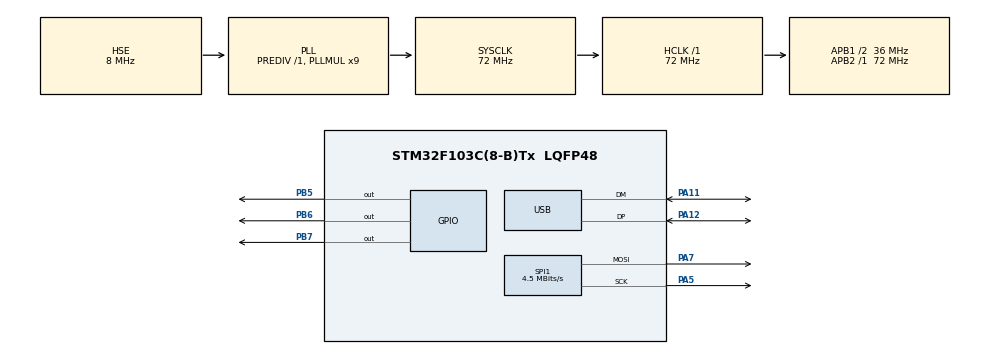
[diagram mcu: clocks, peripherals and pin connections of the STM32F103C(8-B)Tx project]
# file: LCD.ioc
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Mcu.Family=STM32F1
Mcu.Name=STM32F103C(8-B)Tx
Mcu.Package=LQFP48
NVIC.PriorityGroup=NVIC_PRIORITYGROUP_4
NVIC.USB_LP_CAN1_RX0_IRQn=true\:0\:0\:false\:false\:true\:false
PA11.Mode=Device
PA11.Signal=USB_DM
PA12.Mode=Device
PA12.Signal=USB_DP
PA13.Mode=Serial_Wire
PA13.Signal=SYS_JTMS-SWDIO
PA14.Mode=Serial_Wire
PA14.Signal=SYS_JTCK-SWCLK
PA5.Mode=TX_Only_Simplex_Unidirect_Master
PA5.Signal=SPI1_SCK
PA7.Mode=TX_Only_Simplex_Unidirect_Master
PA7.Signal=SPI1_MOSI
PB5.Signal=GPIO_Output
PB6.Signal=GPIO_Output
PB7.Signal=GPIO_Output
PC14-OSC32_IN.Mode=LSE-External-Oscillator
PC14-OSC32_IN.Signal=RCC_OSC32_IN
PC15-OSC32_OUT.Mode=LSE-External-Oscillator
PC15-OSC32_OUT.Signal=RCC_OSC32_OUT
PD0-OSC_IN.Mode=HSE-External-Oscillator
PD0-OSC_IN.Signal=RCC_OSC_IN
PD1-OSC_OUT.Mode=HSE-External-Oscillator
PD1-OSC_OUT.Signal=RCC_OSC_OUT
ProjectManager.HeapSize=0x200
ProjectManager.StackSize=0x400
ProjectManager.TargetToolchain=Makefile
RCC.AHBFreq_Value=72000000
RCC.APB1CLKDivider=RCC_HCLK_DIV2
RCC.APB1Freq_Value=36000000
RCC.APB1TimFreq_Value=72000000
RCC.APB2Freq_Value=72000000
RCC.APB2TimFreq_Value=72000000
RCC.HCLKFreq_Value=72000000
RCC.PLLMUL=RCC_PLL_MUL9
RCC.SYSCLKFreq_VALUE=72000000
RCC.SYSCLKSource=RCC_SYSCLKSOURCE_PLLCLK
RCC.USBFreq_Value=48000000
RCC.USBPrescaler=RCC_USBCLKSOURCE_PLL_DIV1_5
SPI1.BaudRatePrescaler=SPI_BAUDRATEPRESCALER_16
SPI1.CLKPhase=SPI_PHASE_2EDGE
SPI1.CalculateBaudRate=4.5 MBits/s
SPI1.Direction=SPI_DIRECTION_2LINES
SPI1.Mode=SPI_MODE_MASTER
SPI1.VirtualType=VM_MASTER
USB_DEVICE.CLASS_NAME_FS=CDC
USB_DEVICE.VirtualMode=Cdc
USB_DEVICE.VirtualModeFS=Cdc_FS
VP_USB_DEVICE_VS_USB_DEVICE_CDC_FS.Mode=CDC_FS
board=custom

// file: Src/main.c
/* USER CODE BEGIN Header */
/**
  ******************************************************************************
  * @file           : main.c
  * @brief          : Main program body
  ******************************************************************************
  ** This notice applies to any and all portions of this file
  * that are not between comment pairs USER CODE BEGIN and
  * USER CODE END. Other portions of this file, whether
  * inserted by the user or by software development tools
  * are owned by their respective copyright owners.
  *
  * COPYRIGHT(c) 2019 STMicroelectronics
  *
  * Redistribution and use in source and binary forms, with or without modification,
  * are permitted provided that the following conditions are met:
  *   1. Redistributions of source code must retain the above copyright notice,
  *      this list of conditions and the following disclaimer.
  *   2. Redistributions in binary form must reproduce the above copyright notice,
  *      this list of conditions and the following disclaimer in the documentation
  *      and/or other materials provided with the distribution.
  *   3. Neither the name of STMicroelectronics nor the names of its contributors
  *      may be used to endorse or promote products derived from this software
  *      without specific prior written permission.
  *
  * THIS SOFTWARE IS PROVIDED BY THE COPYRIGHT HOLDERS AND CONTRIBUTORS "AS IS"
  * AND ANY EXPRESS OR IMPLIED WARRANTIES, INCLUDING, BUT NOT LIMITED TO, THE
  * IMPLIED WARRANTIES OF MERCHANTABILITY AND FITNESS FOR A PARTICULAR PURPOSE ARE
  * DISCLAIMED. IN NO EVENT SHALL THE COPYRIGHT HOLDER OR CONTRIBUTORS BE LIABLE
  * FOR ANY DIRECT, INDIRECT, INCIDENTAL, SPECIAL, EXEMPLARY, OR CONSEQUENTIAL
  * DAMAGES (INCLUDING, BUT NOT LIMITED TO, PROCUREMENT OF SUBSTITUTE GOODS OR
  * SERVICES; LOSS OF USE, DATA, OR PROFITS; OR BUSINESS INTERRUPTION) HOWEVER
  * CAUSED AND ON ANY THEORY OF LIABILITY, WHETHER IN CONTRACT, STRICT LIABILITY,
  * OR TORT (INCLUDING NEGLIGENCE OR OTHERWISE) ARISING IN ANY WAY OUT OF THE USE
  * OF THIS SOFTWARE, EVEN IF ADVISED OF THE POSSIBILITY OF SUCH DAMAGE.
  *
  ******************************************************************************
  */
/* USER CODE END Header */

#include "main.h"
#include "usb_device.h"

/* USER CODE BEGIN Includes */
#include "lcd.h"
/* USER CODE END Includes */

/* USER CODE BEGIN PD */
#define LCD_RS GPIO_PIN_5
#define LCD_RESET GPIO_PIN_6
/* USER CODE END PD */

SPI_HandleTypeDef hspi1;

/* USER CODE BEGIN PV */
uint8_t run=0;
uint8_t aj=0;

int clean = 0;
uint8_t lcd_buf[64];
uint8_t trans_buf[64];
uint8_t ok_buf=0;
uint8_t lcd_w = 132;
uint8_t lcd_h = 176;
int pos=0;
/* USER CODE END PV */

void SystemClock_Config(void);
static void MX_GPIO_Init(void);
static void MX_SPI1_Init(void);

int main(void)
{

  /* MCU Configuration--------------------------------------------------------*/

  /* Reset of all peripherals, Initializes the Flash interface and the Systick. */
  HAL_Init();

  /* Configure the system clock */
  SystemClock_Config();

  /* Initialize all configured peripherals */
  MX_GPIO_Init();
  MX_SPI1_Init();
  MX_USB_DEVICE_Init();
  /* USER CODE BEGIN 2 */
  HAL_GPIO_WritePin(GPIOB, LCD_RS,GPIO_PIN_SET);
  HAL_GPIO_WritePin(GPIOB, LCD_RESET,GPIO_PIN_SET);
  init_LCD(&hspi1);
  set_draw_area(0,0,132,176,&hspi1);
  draw_start(&hspi1);

  /* USER CODE END 2 */

  /* Infinite loop */
  while (1)
  {

    /* USER CODE BEGIN 3 */

    if(ok_buf==1){
    __disable_irq();
    memcpy(trans_buf,lcd_buf,64);
    __enable_irq();

    HAL_SPI_Transmit(&hspi1,trans_buf,sizeof(trans_buf),100);
    ok_buf=0;
    }

  }
  /* USER CODE END 3 */
}

void SystemClock_Config(void)
{
  RCC_OscInitTypeDef RCC_OscInitStruct = {0};
  RCC_ClkInitTypeDef RCC_ClkInitStruct = {0};
  RCC_PeriphCLKInitTypeDef PeriphClkInit = {0};

  /**Initializes the CPU, AHB and APB busses clocks
  */
  RCC_OscInitStruct.OscillatorType = RCC_OSCILLATORTYPE_HSE;
  RCC_OscInitStruct.HSEState = RCC_HSE_ON;
  RCC_OscInitStruct.HSEPredivValue = RCC_HSE_PREDIV_DIV1;
  RCC_OscInitStruct.HSIState = RCC_HSI_ON;
  RCC_OscInitStruct.PLL.PLLState = RCC_PLL_ON;
  RCC_OscInitStruct.PLL.PLLSource = RCC_PLLSOURCE_HSE;
  RCC_OscInitStruct.PLL.PLLMUL = RCC_PLL_MUL9;
  if (HAL_RCC_OscConfig(&RCC_OscInitStruct) != HAL_OK)
  {
    Error_Handler();
  }
  /**Initializes the CPU, AHB and APB busses clocks
  */
  RCC_ClkInitStruct.ClockType = RCC_CLOCKTYPE_HCLK|RCC_CLOCKTYPE_SYSCLK
                              |RCC_CLOCKTYPE_PCLK1|RCC_CLOCKTYPE_PCLK2;
  RCC_ClkInitStruct.SYSCLKSource = RCC_SYSCLKSOURCE_PLLCLK;
  RCC_ClkInitStruct.AHBCLKDivider = RCC_SYSCLK_DIV1;
  RCC_ClkInitStruct.APB1CLKDivider = RCC_HCLK_DIV2;
  RCC_ClkInitStruct.APB2CLKDivider = RCC_HCLK_DIV1;

  if (HAL_RCC_ClockConfig(&RCC_ClkInitStruct, FLASH_LATENCY_2) != HAL_OK)
  {
    Error_Handler();
  }
  PeriphClkInit.PeriphClockSelection = RCC_PERIPHCLK_USB;
  PeriphClkInit.UsbClockSelection = RCC_USBCLKSOURCE_PLL_DIV1_5;
  if (HAL_RCCEx_PeriphCLKConfig(&PeriphClkInit) != HAL_OK)
  {
    Error_Handler();
  }
}

static void MX_SPI1_Init(void)
{

  /* SPI1 parameter configuration*/
  hspi1.Instance = SPI1;
  hspi1.Init.Mode = SPI_MODE_MASTER;
  hspi1.Init.Direction = SPI_DIRECTION_2LINES;
  hspi1.Init.DataSize = SPI_DATASIZE_8BIT;
  hspi1.Init.CLKPolarity = SPI_POLARITY_LOW;
  hspi1.Init.CLKPhase = SPI_PHASE_2EDGE;
  hspi1.Init.NSS = SPI_NSS_SOFT;
  hspi1.Init.BaudRatePrescaler = SPI_BAUDRATEPRESCALER_8;
  hspi1.Init.FirstBit = SPI_FIRSTBIT_MSB;
  hspi1.Init.TIMode = SPI_TIMODE_DISABLE;
  hspi1.Init.CRCCalculation = SPI_CRCCALCULATION_DISABLE;
  hspi1.Init.CRCPolynomial = 10;
  if (HAL_SPI_Init(&hspi1) != HAL_OK)
  {
    Error_Handler();
  }

}

static void MX_GPIO_Init(void)
{
  GPIO_InitTypeDef GPIO_InitStruct = {0};

  /* GPIO Ports Clock Enable */
  __HAL_RCC_GPIOC_CLK_ENABLE();
  __HAL_RCC_GPIOD_CLK_ENABLE();
  __HAL_RCC_GPIOA_CLK_ENABLE();
  __HAL_RCC_GPIOB_CLK_ENABLE();

  /*Configure GPIO pin Output Level */
  HAL_GPIO_WritePin(GPIOB, GPIO_PIN_5|GPIO_PIN_6|GPIO_PIN_7, GPIO_PIN_RESET);

  /*Configure GPIO pins : PB5 PB6 PB7 */
  GPIO_InitStruct.Pin = GPIO_PIN_5|GPIO_PIN_6|GPIO_PIN_7;
  GPIO_InitStruct.Mode = GPIO_MODE_OUTPUT_PP;
  GPIO_InitStruct.Pull = GPIO_NOPULL;
  GPIO_InitStruct.Speed = GPIO_SPEED_FREQ_LOW;
  HAL_GPIO_Init(GPIOB, &GPIO_InitStruct);

}

void Error_Handler(void)
{
}

/************************ (C) COPYRIGHT STMicroelectronics *****END OF FILE****/
